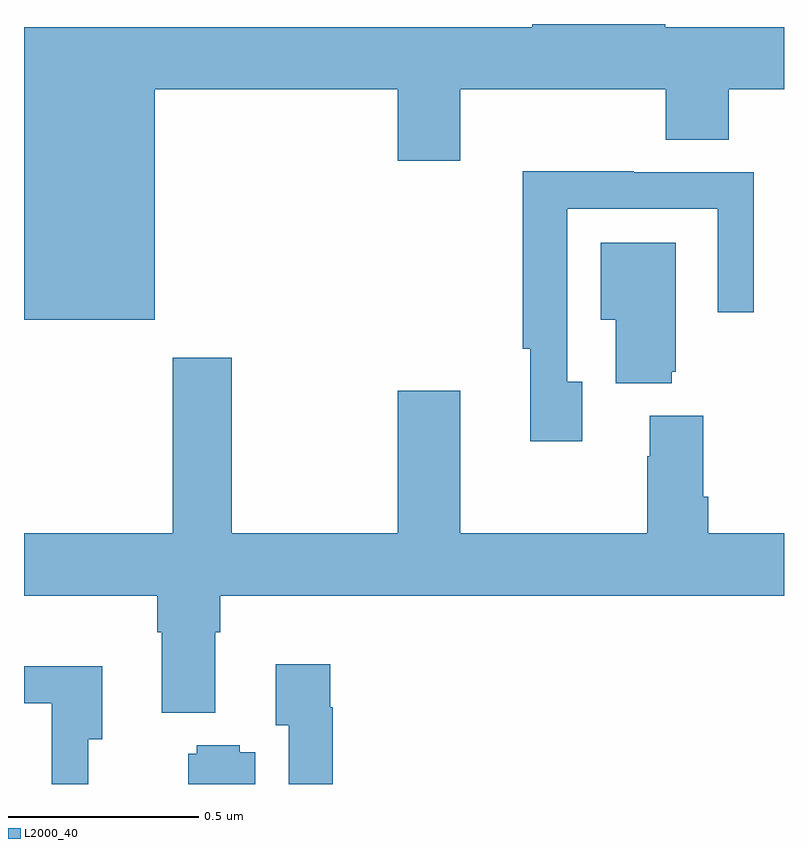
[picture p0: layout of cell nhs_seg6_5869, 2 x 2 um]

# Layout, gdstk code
import gdstk
lib = gdstk.Library(unit=1e-6, precision=1e-09)
def P(c, l, *ps):  # polygons
    for p in ps: c.add(gdstk.Polygon(p, *l))
L2000_40 = (2000, 40)

nhs_seg6_5869 = lib.new_cell('nhs_seg6_5869')
P(nhs_seg6_5869, L2000_40, [(188.344,955.328),(188.984,955.328),(188.984,955.14),(189.148,955.14),(189.148,955.328),(189.689,955.328),(189.689,955.195),(189.854,955.195),(189.854,955.328),(190,955.328),(190,955.492),(189.688,955.492),(189.688,955.5),(189.338,955.5),(189.338,955.492),(188,955.492),(188,954.722),(188.344,954.722)],
  [(189.469,954.558),(189.429,954.558),(189.429,955.014),(189.825,955.014),(189.825,954.741),(189.921,954.741),(189.921,955.11),(189.605,955.11),(189.605,955.112),(189.313,955.112),(189.313,954.646),(189.332,954.646),(189.332,954.402),(189.469,954.402)],
  [(189.704,954.585),(189.715,954.585),(189.715,954.925),(189.518,954.925),(189.518,954.722),(189.557,954.722),(189.557,954.554),(189.704,954.554)],
  [(188.503,953.9),(188.516,953.9),(188.516,953.996),(190,953.996),(190,954.16),(189.8,954.16),(189.8,954.256),(189.787,954.256),(189.787,954.469),(189.647,954.469),(189.647,954.362),(189.64,954.362),(189.64,954.16),(189.148,954.16),(189.148,954.535),(188.984,954.535),(188.984,954.16),(188.547,954.16),(188.547,954.622),(188.392,954.622),(188.392,954.16),(188,954.16),(188,953.996),(188.351,953.996),(188.351,953.9),(188.363,953.9),(188.363,953.687),(188.503,953.687)],
  [(188.813,953.702),(188.806,953.702),(188.806,953.815),(188.663,953.815),(188.663,953.654),(188.697,953.654),(188.697,953.5),(188.813,953.5)],
  [(188.169,953.618),(188.206,953.618),(188.206,953.81),(188,953.81),(188,953.712),(188.073,953.712),(188.073,953.5),(188.169,953.5)],
  [(188.608,953.584),(188.568,953.584),(188.568,953.602),(188.454,953.602),(188.454,953.58),(188.432,953.58),(188.432,953.5),(188.608,953.5)])

lib.write_gds('nhs_seg6_5869.gds')
